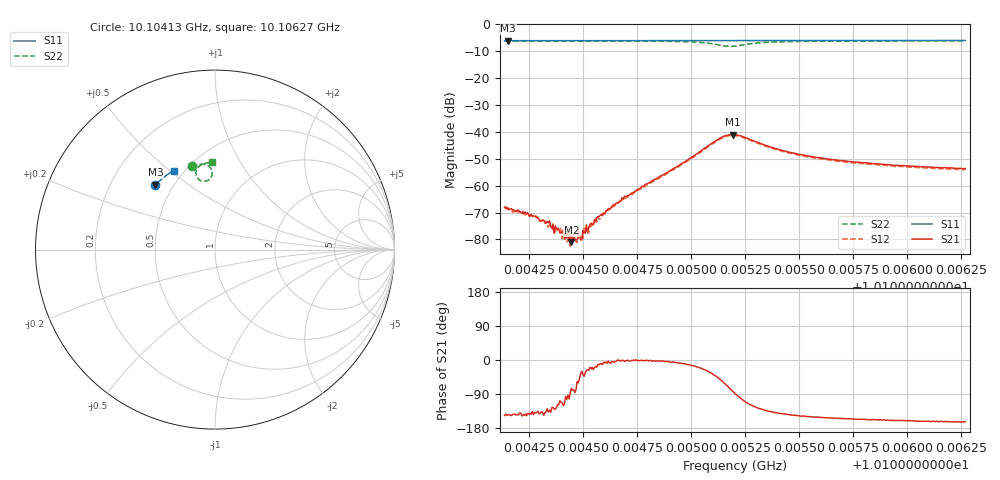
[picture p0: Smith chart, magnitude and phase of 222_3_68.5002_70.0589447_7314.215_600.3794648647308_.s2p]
#  HZ  S  RI  R  50.00
! Rohde & Schwarz Vector Network Analyzer
! Rohde-Schwarz,ZNB20-2Port,1311601062101988,3.16
! Created: UTC 3/20/2024, 5:13:42 PM
! freq[Hz]  re:S11  im:S11  re:S21  im:S21  re:S12  im:S12  re:S22  im:S22
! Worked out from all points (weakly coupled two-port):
!   401 points, 10.10413 GHz to 10.10627 GHz, reference 50 ohm
!   highest |S21| = -41.02 dB at 10.10519 GHz (marker M1); lowest = -81.0 dB at 10.10444 GHz (marker M2)
!   lowest |S11| = -6.2 dB at 10.10415 GHz (marker M3), VSWR 2.93, Z = 19.9 + j19 ohm
!   |S11| at or under -10 dB: nowhere
!   |S22| runs from -8.3 to -6.2 dB; largest |S21 - S12| = 0.00094
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1.0104135e10  -0.3333 0.3607  -0.00033 -0.000218  -0.000285 -0.000239  -0.1288 0.4659
1.0104151e10  -0.3325 0.3613  -0.000313 -0.000228  -0.000275 -0.000231  -0.1278 0.4663
1.0104279e10  -0.327 0.367  -0.000201 -0.000172  -0.000196 -0.000198  -0.1185 0.4689
1.010437e10  -0.323 0.3707  -0.000116 -0.000138  -8.79e-05 -0.000106  -0.1117 0.4706
1.0104386e10  -0.3223 0.3714  -7.15e-05 -0.000135  -6.7e-05 -0.000156  -0.1105 0.471
1.0104423e10  -0.3207 0.373  -2.46e-05 -0.000102  -1.96e-05 -8.8e-05  -0.1077 0.4714
1.0104445e10  -0.3197 0.374  2.32e-05 -8.56e-05  -1.57e-05 -0.000123  -0.1059 0.4719
1.0104461e10  -0.319 0.3746  7.02e-06 -9.96e-05  2.69e-05 -9.39e-05  -0.1044 0.4722
1.0104482e10  -0.3181 0.3754  7.99e-05 -8.73e-05  6.21e-05 -9.33e-05  -0.1029 0.4726
1.0104493e10  -0.3175 0.3759  8.58e-05 -4.86e-05  8.01e-05 -8.18e-05  -0.1019 0.4727
1.0104562e10  -0.3144 0.3788  0.000241 -8.21e-05  0.000201 -5.59e-05  -0.0961 0.4739
1.01046e10  -0.3128 0.3804  0.000297 -4.11e-05  0.000301 -2.32e-05  -0.0926 0.4743
1.0104642e10  -0.3107 0.3821  0.000444 -4.72e-05  0.000407 3.89e-05  -0.0888 0.475
1.0104851e10  -0.3011 0.3904  0.00145 -5.54e-05  0.00137 4.88e-05  -0.0647 0.4754
1.0105027e10  -0.2926 0.3971  0.00372 -0.00122  0.00363 -0.000808  -0.0302 0.4599
1.0105128e10  -0.2877 0.4005  0.00493 -0.00555  0.00519 -0.00481  -0.0188 0.4097
1.0105193e10  -0.2849 0.4026  0.00113 -0.00882  0.00189 -0.0084  -0.0646 0.3805
1.0105203e10  -0.2844 0.4031  0.000224 -0.00886  0.00104 -0.00846  -0.0742 0.3823
1.0105406e10  -0.275 0.4107  -0.00363 -0.00299  -0.00322 -0.0032  -0.0933 0.4591
1.0105561e10  -0.2673 0.4163  -0.00301 -0.00174  -0.00274 -0.00191  -0.0737 0.4734
1.0105919e10  -0.2492 0.4283  -0.00228 -0.000853  -0.00209 -0.00108  -0.041 0.4834
1.0106272e10  -0.2309 0.4394  -0.002 -0.000605  -0.00185 -0.000741  -0.0146 0.487
